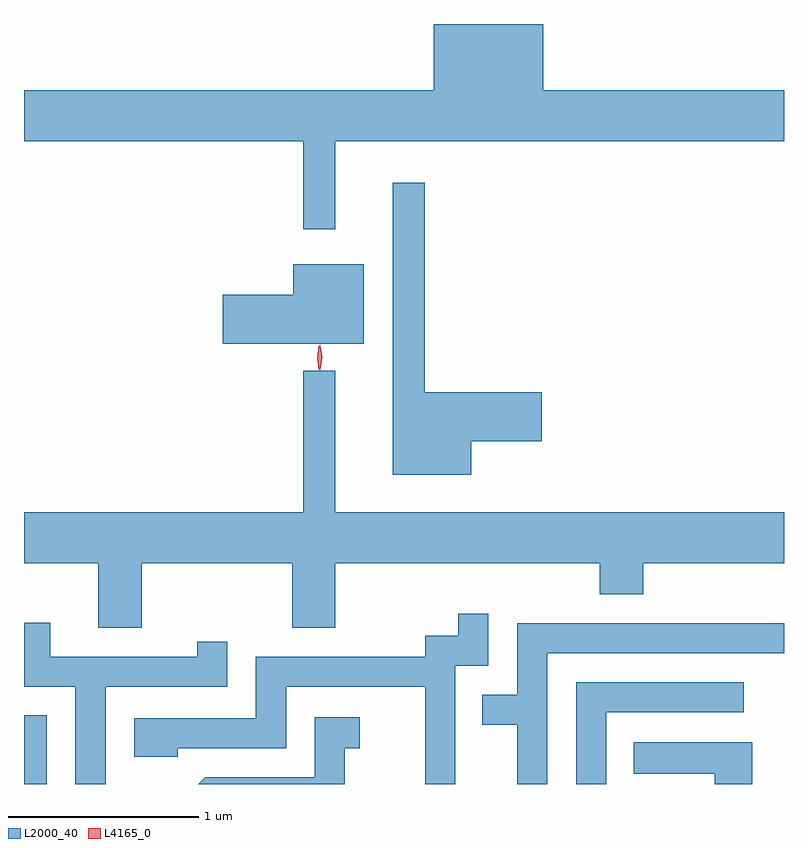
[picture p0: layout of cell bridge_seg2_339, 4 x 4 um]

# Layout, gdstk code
import gdstk
lib = gdstk.Library(unit=1e-6, precision=1e-09)
def R(c, l, rs):  # rectangles x0, y0, x1, y1
    for r in rs: c.add(gdstk.rectangle(r[:2], r[2:], *l))
def P(c, l, *ps):  # polygons
    for p in ps: c.add(gdstk.Polygon(p, *l))
L2000_40 = (2000, 40)
L4165_0 = (4165, 0)

bridge_seg2_339 = lib.new_cell('bridge_seg2_339')
R(bridge_seg2_339, L2000_40, [(396.66,1042.713,396.779,1043.074)])
P(bridge_seg2_339, L2000_40, [(398.299,1046.096),(400.66,1046.096),(400.66,1046.364),(399.394,1046.364),(399.394,1046.713),(398.816,1046.713),(398.816,1046.364),(396.66,1046.364),(396.66,1046.096),(398.131,1046.096),(398.131,1045.632),(398.299,1045.632)],
  [(399.014,1044.516),(399.384,1044.516),(399.384,1044.774),(398.769,1044.774),(398.769,1045.878),(398.601,1045.878),(398.601,1044.341),(399.014,1044.341)],
  [(398.449,1045.449),(398.076,1045.449),(398.076,1045.289),(397.706,1045.289),(397.706,1045.031),(398.449,1045.031)],
  [(397.279,1043.876),(398.071,1043.876),(398.071,1043.536),(398.299,1043.536),(398.299,1043.876),(399.691,1043.876),(399.691,1043.711),(399.919,1043.711),(399.919,1043.876),(400.66,1043.876),(400.66,1044.144),(398.299,1044.144),(398.299,1044.888),(398.131,1044.888),(398.131,1044.144),(396.66,1044.144),(396.66,1043.876),(397.051,1043.876),(397.051,1043.536),(397.279,1043.536)],
  [(398.929,1043.336),(399.104,1043.336),(399.104,1043.608),(398.946,1043.608),(398.946,1043.494),(398.771,1043.494),(398.771,1043.384),(397.881,1043.384),(397.881,1043.059),(397.241,1043.059),(397.241,1042.856),(397.469,1042.856),(397.469,1042.901),(398.039,1042.901),(398.039,1043.226),(398.771,1043.226),(398.771,1042.713),(398.929,1042.713)],
  [(397.089,1043.226),(397.729,1043.226),(397.729,1043.463),(397.571,1043.463),(397.571,1043.384),(396.799,1043.384),(396.799,1043.563),(396.66,1043.563),(396.66,1043.226),(396.931,1043.226),(396.931,1042.713),(397.089,1042.713)],
  [(399.414,1043.401),(400.66,1043.401),(400.66,1043.559),(399.256,1043.559),(399.256,1043.184),(399.073,1043.184),(399.073,1043.026),(399.256,1043.026),(399.256,1042.713),(399.414,1042.713)],
  [(399.724,1043.091),(400.448,1043.091),(400.448,1043.249),(399.566,1043.249),(399.566,1042.713),(399.724,1042.713)],
  [(398.349,1042.901),(398.428,1042.901),(398.428,1043.064),(398.191,1043.064),(398.191,1042.749),(397.614,1042.749),(397.578,1042.713),(398.349,1042.713)],
  [(400.494,1042.934),(399.868,1042.934),(399.868,1042.766),(400.296,1042.766),(400.296,1042.713),(400.494,1042.713)])
P(bridge_seg2_339, L4165_0, [(398.218,1044.89),(398.218,1044.89),(398.209,1044.958),(398.219,1045.025),(398.219,1045.026),(398.22,1045.025),(398.229,1044.958),(398.218,1044.89)],
  [(398.213,1044.893),(398.212,1044.894),(398.203,1044.956),(398.212,1045.02),(398.213,1045.02),(398.213,1045.02),(398.223,1044.956),(398.213,1044.894)])

lib.write_gds('bridge_seg2_339.gds')
